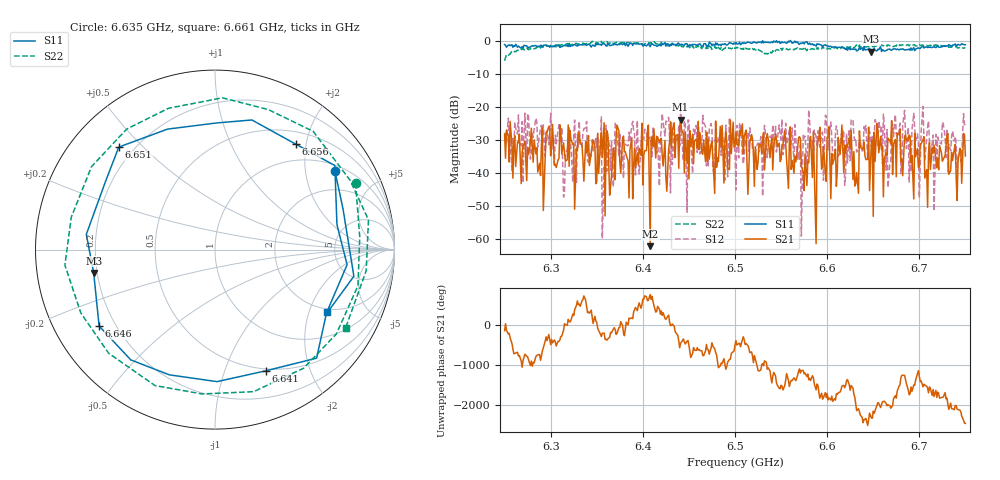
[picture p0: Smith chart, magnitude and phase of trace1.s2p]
# Hz S RI R 50
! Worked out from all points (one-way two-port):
!   401 points, 6.25 GHz to 6.75 GHz, reference 50 ohm
!   highest |S21| = -23.93 dB at 6.441 GHz (marker M1); lowest = -62.3 dB at 6.408 GHz (marker M2)
!   lowest |S11| = -3.2 dB at 6.648 GHz (marker M3), VSWR 5.42, Z = 9.31 - j4.63 ohm
!   |S11| at or under -10 dB: nowhere
!   |S22| runs from -6.0 to -0.1 dB; largest |S21 - S12| = 0.12
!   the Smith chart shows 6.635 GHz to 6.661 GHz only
!   S11 on the Smith chart (normalised r, x): 6.635 GHz: 1.20, +2.90; 6.641 GHz: 0.48, -1.39; 6.646 GHz: 0.14, -0.29; 6.651 GHz: 0.14, +0.43; 6.656 GHz: 0.70, +1.82; 6.661 GHz: 1.87, -2.65
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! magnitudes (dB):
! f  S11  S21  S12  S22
! 6.25 GHz  -1.1  -28.2  -29.5  -6.0
! 6.31 GHz  -2.0  -25.5  -28.2  -1.3
! 6.316 GHz  -1.5  -36.5  -33.8  -1.1
! 6.334 GHz  -1.2  -31.7  -32.0  -0.9
! 6.359 GHz  -1.0  -53.1  -43.1  -0.5
! 6.372 GHz  -1.2  -25.6  -28.1  -0.2
! 6.408 GHz  -1.7  -62.3  -29.2  -0.7
! 6.418 GHz  -1.0  -30.8  -44.1  -0.8
! 6.441 GHz  -1.1  -23.9  -21.3  -1.2
! 6.5 GHz  -0.9  -32.0  -33.6  -2.0
! 6.57 GHz  -1.0  -29.1  -35.9  -2.4
! 6.584 GHz  -0.9  -41.5  -30.4  -2.3
! 6.635 GHz  -1.9  -27.3  -30.3  -1.2
! 6.641 GHz  -2.7  -34.9  -27.5  -1.7
! 6.646 GHz  -2.2  -45.4  -27.4  -1.7
! 6.648 GHz  -3.2  -30.7  -32.2  -1.5
! 6.651 GHz  -2.1  -27.6  -29.2  -1.6
! 6.656 GHz  -2.6  -34.0  -24.3  -1.3
! 6.661 GHz  -2.9  -47.4  -22.2  -1.4
! 6.668 GHz  -2.5  -30.3  -37.5  -1.5
! 6.744 GHz  -1.3  -32.6  -34.1  -1.9
! 6.75 GHz  -1.1  -34.9  -25.5  -2.0
